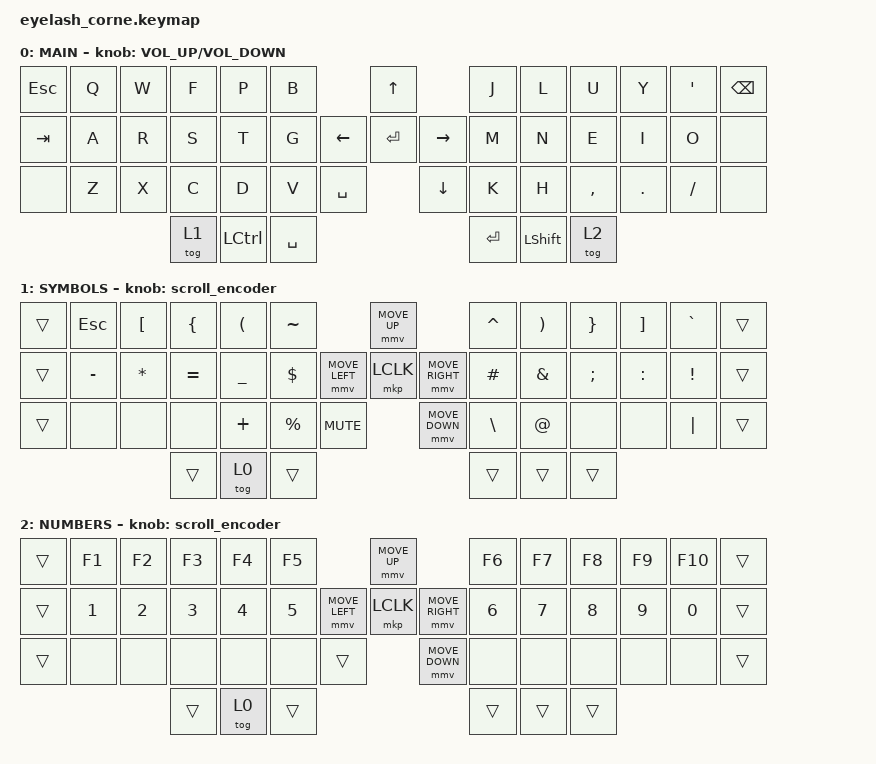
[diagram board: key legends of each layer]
#define ZMK_POINTING_DEFAULT_MOVE_VAL 1200  // 600
#define ZMK_POINTING_DEFAULT_SCRL_VAL 25   // 10

#include <input/processors.dtsi>
#include <zephyr/dt-bindings/input/input-event-codes.h>
#include <behaviors.dtsi>
#include <dt-bindings/zmk/keys.h>
#include <dt-bindings/zmk/pointing.h>
#include <dt-bindings/zmk/rgb.h>

&mmv_input_listener { input-processors = <&zip_xy_scaler 2 1>; };

&msc_input_listener { input-processors = <&zip_scroll_scaler 2 1>; };

&msc {
    acceleration-exponent = <1>;      // 0
    time-to-max-speed-ms = <100>;       // 300
    delay-ms = <0>;                   // 0
};

&mmv {
    time-to-max-speed-ms = <500>;
    acceleration-exponent = <1>;
    trigger-period-ms = <16>;
};

/ {
    behaviors {
        td0: td0 {
            compatible = "zmk,behavior-tap-dance";
            display-name = "Shift/Caps Lock Tap Dance";
            #binding-cells = <0>;
            bindings = <&kp LEFT_SHIFT>, <&kp CAPS>;
        };
    };

    rgb_encoder: rgb_encoder {
        compatible = "zmk,behavior-sensor-rotate";
        #sensor-binding-cells = <0>;
        bindings = <&rgb_ug RGB_BRI>, <&rgb_ug RGB_BRD>;
    };

    scroll_encoder: scroll_encoder {
        compatible = "zmk,behavior-sensor-rotate";
        #sensor-binding-cells = <0>;
        bindings = <&msc SCRL_DOWN>, <&msc SCRL_UP>;

        tap-ms = <100>;
    };

    keymap {
        compatible = "zmk,keymap";

        default_layer {
            display-name = "MAIN";
            bindings = <
&kp ESC  &kp Q  &kp W  &kp F   &kp P      &kp B                             &kp UP                &kp J      &kp L           &kp U      &kp Y    &kp APOSTROPHE  &kp BSPC
&kp TAB  &kp A  &kp R  &kp S   &kp T      &kp G                   &kp LEFT  &kp ENTER  &kp RIGHT  &kp M      &kp N           &kp E      &kp I    &kp O           &none
&none    &kp Z  &kp X  &kp C   &kp D      &kp V      &kp SPACE              &kp DOWN              &kp K      &kp H           &kp COMMA  &kp DOT  &kp FSLH        &none
                       &tog 1  &kp LCTRL  &kp SPACE                                               &kp ENTER  &kp LEFT_SHIFT  &tog 2
            >;

            sensor-bindings = <&inc_dec_kp C_VOLUME_UP C_VOLUME_DOWN>;
        };

        lower_layer {
            display-name = "SYMBOLS";
            bindings = <
&trans  &kp ESCAPE  &kp LEFT_BRACKET  &kp LEFT_BRACE  &kp LEFT_PARENTHESIS  &kp TILDE                                  &mmv MOVE_UP                     &kp CARET      &kp RIGHT_PARENTHESIS  &kp RIGHT_BRACE  &kp RIGHT_BRACKET  &kp GRAVE  &trans
&trans  &kp MINUS   &kp ASTERISK      &kp EQUAL       &kp UNDER             &kp DOLLAR                 &mmv MOVE_LEFT  &mkp LCLK       &mmv MOVE_RIGHT  &kp HASH       &kp AMPERSAND          &kp SEMICOLON    &kp COLON          &kp EXCL   &trans
&trans  &none       &none             &none           &kp PLUS              &kp PERCENT  &kp C_MUTE                    &mmv MOVE_DOWN                   &kp BACKSLASH  &kp AT                 &none            &none              &kp PIPE   &trans
                                      &trans          &tog 0                &trans                                                                      &trans         &trans                 &trans
            >;

            sensor-bindings = <&scroll_encoder>;
        };

        raise_layer {
            display-name = "NUMBERS";
            bindings = <
&trans  &kp F1        &kp F2        &kp F3        &kp F4        &kp F5                            &mmv MOVE_UP                     &kp F6        &kp F7  &kp F8  &kp F9  &kp F10  &trans
&trans  &kp NUMBER_1  &kp NUMBER_2  &kp NUMBER_3  &kp NUMBER_4  &kp N5            &mmv MOVE_LEFT  &mkp LCLK       &mmv MOVE_RIGHT  &kp NUMBER_6  &kp N7  &kp N8  &kp N9  &kp N0   &trans
&trans  &none         &none         &none         &none         &none   &trans                    &mmv MOVE_DOWN                   &none         &none   &none   &none   &none    &trans
                                    &trans        &tog 0        &trans                                                             &trans        &trans  &trans
            >;

            sensor-bindings = <&scroll_encoder>;
        };
    };
};
